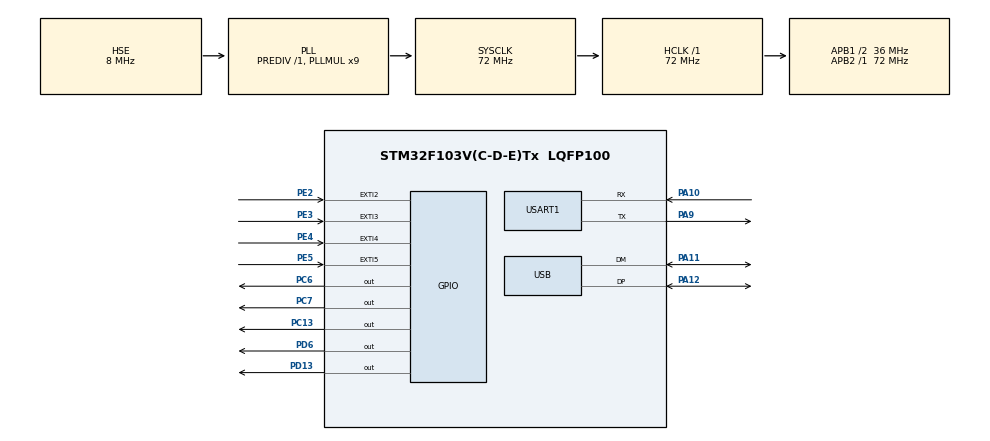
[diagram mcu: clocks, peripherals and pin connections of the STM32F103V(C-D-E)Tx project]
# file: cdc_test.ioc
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Mcu.Family=STM32F1
Mcu.Name=STM32F103V(C-D-E)Tx
Mcu.Package=LQFP100
NVIC.EXTI2_IRQn=true\:0\:0\:false
NVIC.EXTI3_IRQn=true\:0\:0\:false
NVIC.EXTI4_IRQn=true\:0\:0\:false
NVIC.EXTI9_5_IRQn=true\:0\:0\:false
NVIC.PriorityGroup=NVIC_PRIORITYGROUP_4
NVIC.USB_LP_CAN1_RX0_IRQn=true\:0\:0\:false
OSC_IN.Mode=HSE-External-Oscillator
OSC_IN.Signal=RCC_OSC_IN
OSC_OUT.Mode=HSE-External-Oscillator
OSC_OUT.Signal=RCC_OSC_OUT
PA10.Mode=Asynchronous
PA10.Signal=USART1_RX
PA11.Mode=Device
PA11.Signal=USB_DM
PA12.Mode=Device
PA12.Signal=USB_DP
PA9.Mode=Asynchronous
PA9.Signal=USART1_TX
PC13-TAMPER-RTC.Signal=GPIO_Output
PC14-OSC32_IN.Mode=LSE-External-Oscillator
PC14-OSC32_IN.Signal=RCC_OSC32_IN
PC15-OSC32_OUT.Mode=LSE-External-Oscillator
PC15-OSC32_OUT.Signal=RCC_OSC32_OUT
PC6.Signal=GPIO_Output
PC7.Signal=GPIO_Output
PD13.Signal=GPIO_Output
PD6.Signal=GPIO_Output
PE2.Signal=GPXTI2
PE3.Signal=GPXTI3
PE4.Signal=GPXTI4
PE5.Signal=GPXTI5
ProjectManager.TargetToolchain=SW4STM32
RCC.AHBFreq_Value=72000000
RCC.APB1CLKDivider=RCC_HCLK_DIV2
RCC.APB1Freq_Value=36000000
RCC.APB1TimFreq_Value=72000000
RCC.APB2Freq_Value=72000000
RCC.APB2TimFreq_Value=72000000
RCC.HCLKFreq_Value=72000000
RCC.HSIState=RCC_HSI_ON
RCC.PLLMUL=RCC_PLL_MUL9
RCC.SYSCLKFreq_VALUE=72000000
RCC.SYSCLKSource=RCC_SYSCLKSOURCE_PLLCLK
RCC.USBFreq_Value=48000000
RCC.USBPrescaler=RCC_USBPLLCLK_DIV1_5
USB_DEVICE.USBD_HandleTypeDef=hUsbDeviceFS
USB_DEVICE.VirtualMode=Cdc
USB_DEVICE.VirtualModeFS=Cdc_FS
VP_USB_DEVICE_VS_USB_DEVICE_CDC_FS.Mode=CDC_FS
board=cdc_test

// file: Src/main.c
/**
  ******************************************************************************
  * File Name          : main.c
  * Description        : Main program body
  ******************************************************************************
  *
  * COPYRIGHT(c) 2015 STMicroelectronics
  *
  * Redistribution and use in source and binary forms, with or without modification,
  * are permitted provided that the following conditions are met:
  *   1. Redistributions of source code must retain the above copyright notice,
  *      this list of conditions and the following disclaimer.
  *   2. Redistributions in binary form must reproduce the above copyright notice,
  *      this list of conditions and the following disclaimer in the documentation
  *      and/or other materials provided with the distribution.
  *   3. Neither the name of STMicroelectronics nor the names of its contributors
  *      may be used to endorse or promote products derived from this software
  *      without specific prior written permission.
  *
  * THIS SOFTWARE IS PROVIDED BY THE COPYRIGHT HOLDERS AND CONTRIBUTORS "AS IS"
  * AND ANY EXPRESS OR IMPLIED WARRANTIES, INCLUDING, BUT NOT LIMITED TO, THE
  * IMPLIED WARRANTIES OF MERCHANTABILITY AND FITNESS FOR A PARTICULAR PURPOSE ARE
  * DISCLAIMED. IN NO EVENT SHALL THE COPYRIGHT HOLDER OR CONTRIBUTORS BE LIABLE
  * FOR ANY DIRECT, INDIRECT, INCIDENTAL, SPECIAL, EXEMPLARY, OR CONSEQUENTIAL
  * DAMAGES (INCLUDING, BUT NOT LIMITED TO, PROCUREMENT OF SUBSTITUTE GOODS OR
  * SERVICES; LOSS OF USE, DATA, OR PROFITS; OR BUSINESS INTERRUPTION) HOWEVER
  * CAUSED AND ON ANY THEORY OF LIABILITY, WHETHER IN CONTRACT, STRICT LIABILITY,
  * OR TORT (INCLUDING NEGLIGENCE OR OTHERWISE) ARISING IN ANY WAY OUT OF THE USE
  * OF THIS SOFTWARE, EVEN IF ADVISED OF THE POSSIBILITY OF SUCH DAMAGE.
  *
  ******************************************************************************
  */
#include "stm32f1xx_hal.h"
#include "usb_device.h"

/* USER CODE BEGIN Includes */
#include "vcp.h"
#include "usbd_cdc_if.h"
/* USER CODE END Includes */

UART_HandleTypeDef huart1;

/* USER CODE BEGIN PV */
/* Private variables ---------------------------------------------------------*/
/* USER CODE END PV */

void SystemClock_Config(void);
static void MX_GPIO_Init(void);
static void MX_USART1_UART_Init(void);

/* USER CODE BEGIN PFP */
/* Private function prototypes -----------------------------------------------*/
/* USER CODE BEGIN 1 */
/* USER CODE END 1 */
/* USER CODE END PFP */

/* USER CODE BEGIN 0 */

/**
 * Get USB Connection Status
 */
#define USB_IS_ACTIVE() (hUsbDeviceFS.dev_state == USBD_STATE_CONFIGURED)

/**
 * printf retartget to USART1
 */
#ifdef __GNUC__
#  define PUTCHAR_PROTOTYPE int __io_putchar(int ch)
#else
#  define PUTCHAR_PROTOTYPE int fputc(int ch, FILE *f)
#endif /* __GNUC__ */

PUTCHAR_PROTOTYPE
{
  HAL_UART_Transmit(&huart1, (uint8_t *)&ch, 1, 0xFFFF);
  return ch;
}

int _write(int file, char *ptr, int len)
{
  int DataIdx;

  for (DataIdx = 0; DataIdx < len; DataIdx++)
  {
    __io_putchar(*ptr++);
  }
  return len;
}

/**
 * Software connection state switch
 */

uint8_t connectionState = 1;

void HAL_GPIO_EXTI_Callback(uint16_t GPIO_Pin) {
  switch (GPIO_Pin) {
  case GPIO_PIN_5:
    // push SW1, toggle connection
    printf("\r\nSoftware device connection.\r\n");
    connectionState ^= 1;
    HAL_PCDEx_SetConnectionState(hUsbDeviceFS.pData, connectionState);
    break;
  case GPIO_PIN_4:
    break;
  case GPIO_PIN_3:
    break;
  case GPIO_PIN_2:
    break;
  }
}
/* USER CODE END 0 */

int main(void)
{

  /* MCU Configuration----------------------------------------------------------*/

  /* Reset of all peripherals, Initializes the Flash interface and the Systick. */
  HAL_Init();

  /* Configure the system clock */
  SystemClock_Config();

  /* Initialize all configured peripherals */
  MX_GPIO_Init();
  MX_USART1_UART_Init();
  MX_USB_DEVICE_Init();

  /* USER CODE BEGIN 2 */
  HAL_PCDEx_SetConnectionState(hUsbDeviceFS.pData, connectionState);// USB Activate
  HAL_Delay(3000);
  printf("Hello world.\r\n");

  uint8_t buf = 0;
  uint8_t cbuf[100];
  /* USER CODE END 2 */

  /* Infinite loop */
  while (1)
  {

  /* USER CODE BEGIN 3 */

    // USART1 <=> VCP echo test
    if (USB_IS_ACTIVE())
    {
      HAL_Delay(5000);

      printf("\r\nVCP Connected > ");
      fflush(stdout);
      VCP_write("\r\nVCP Connected > ", 18);

      while (USB_IS_ACTIVE())
      {
        // VCP to USART1
        if (VCP_read(&buf, 1) == 1 && buf)
        {
          printf("\033[36m%c\033[0m", buf);
          fflush(stdout);
          VCP_write(&buf, 1);
          buf = 0;
        }

        // USART1 to VCP
        HAL_UART_Receive(&huart1, &buf, 1, 1);
        if (buf)
        {
          sprintf(cbuf, "\033[36m%c\033[0m", buf);
          VCP_write(&cbuf, 10);
          printf("%c", buf);
          fflush(stdout);
          buf = 0;
        }
      }

      printf("\r\nVCP Disconnected.\r\n");
    }
    else
    {
      // [debug] dump device status
      printf("\rdev_state = %d", hUsbDeviceFS.dev_state);
      fflush(stdout);
      HAL_Delay(500);
    }
  }
  /* USER CODE END 3 */

}

/** System Clock Configuration
*/
void SystemClock_Config(void)
{

  RCC_OscInitTypeDef RCC_OscInitStruct;
  RCC_ClkInitTypeDef RCC_ClkInitStruct;
  RCC_PeriphCLKInitTypeDef PeriphClkInit;

  RCC_OscInitStruct.OscillatorType = RCC_OSCILLATORTYPE_HSE;
  RCC_OscInitStruct.HSEState = RCC_HSE_ON;
  RCC_OscInitStruct.HSEPredivValue = RCC_HSE_PREDIV_DIV1;
  RCC_OscInitStruct.PLL.PLLState = RCC_PLL_ON;
  RCC_OscInitStruct.PLL.PLLSource = RCC_PLLSOURCE_HSE;
  RCC_OscInitStruct.PLL.PLLMUL = RCC_PLL_MUL9;
  HAL_RCC_OscConfig(&RCC_OscInitStruct);

  RCC_ClkInitStruct.ClockType = RCC_CLOCKTYPE_SYSCLK|RCC_CLOCKTYPE_PCLK1;
  RCC_ClkInitStruct.SYSCLKSource = RCC_SYSCLKSOURCE_PLLCLK;
  RCC_ClkInitStruct.AHBCLKDivider = RCC_SYSCLK_DIV1;
  RCC_ClkInitStruct.APB1CLKDivider = RCC_HCLK_DIV2;
  RCC_ClkInitStruct.APB2CLKDivider = RCC_HCLK_DIV1;
  HAL_RCC_ClockConfig(&RCC_ClkInitStruct, FLASH_LATENCY_2);

  PeriphClkInit.PeriphClockSelection = RCC_PERIPHCLK_USB;
  PeriphClkInit.UsbClockSelection = RCC_USBPLLCLK_DIV1_5;
  HAL_RCCEx_PeriphCLKConfig(&PeriphClkInit);

  HAL_SYSTICK_Config(HAL_RCC_GetHCLKFreq()/1000);

  HAL_SYSTICK_CLKSourceConfig(SYSTICK_CLKSOURCE_HCLK);

}

/* USART1 init function */
void MX_USART1_UART_Init(void)
{

  huart1.Instance = USART1;
  huart1.Init.BaudRate = 115200;
  huart1.Init.WordLength = UART_WORDLENGTH_8B;
  huart1.Init.StopBits = UART_STOPBITS_1;
  huart1.Init.Parity = UART_PARITY_NONE;
  huart1.Init.Mode = UART_MODE_TX_RX;
  huart1.Init.HwFlowCtl = UART_HWCONTROL_NONE;
  huart1.Init.OverSampling = UART_OVERSAMPLING_16;
  HAL_UART_Init(&huart1);

}

/** Configure pins as
        * Analog
        * Input
        * Output
        * EVENT_OUT
        * EXTI
*/
void MX_GPIO_Init(void)
{

  GPIO_InitTypeDef GPIO_InitStruct;

  /* GPIO Ports Clock Enable */
  __GPIOE_CLK_ENABLE();
  __GPIOC_CLK_ENABLE();
  __GPIOD_CLK_ENABLE();
  __GPIOA_CLK_ENABLE();

  /*Configure GPIO pins : PE2 PE3 PE4 PE5 */
  GPIO_InitStruct.Pin = GPIO_PIN_2|GPIO_PIN_3|GPIO_PIN_4|GPIO_PIN_5;
  GPIO_InitStruct.Mode = GPIO_MODE_IT_RISING;
  GPIO_InitStruct.Pull = GPIO_NOPULL;
  HAL_GPIO_Init(GPIOE, &GPIO_InitStruct);

  /*Configure GPIO pins : PC13 PC6 PC7 */
  GPIO_InitStruct.Pin = GPIO_PIN_13|GPIO_PIN_6|GPIO_PIN_7;
  GPIO_InitStruct.Mode = GPIO_MODE_OUTPUT_PP;
  GPIO_InitStruct.Speed = GPIO_SPEED_LOW;
  HAL_GPIO_Init(GPIOC, &GPIO_InitStruct);

  /*Configure GPIO pins : PD13 PD6 */
  GPIO_InitStruct.Pin = GPIO_PIN_13|GPIO_PIN_6;
  GPIO_InitStruct.Mode = GPIO_MODE_OUTPUT_PP;
  GPIO_InitStruct.Speed = GPIO_SPEED_LOW;
  HAL_GPIO_Init(GPIOD, &GPIO_InitStruct);

  /* EXTI interrupt init*/
  HAL_NVIC_SetPriority(EXTI2_IRQn, 0, 0);
  HAL_NVIC_EnableIRQ(EXTI2_IRQn);

  HAL_NVIC_SetPriority(EXTI3_IRQn, 0, 0);
  HAL_NVIC_EnableIRQ(EXTI3_IRQn);

  HAL_NVIC_SetPriority(EXTI4_IRQn, 0, 0);
  HAL_NVIC_EnableIRQ(EXTI4_IRQn);

  HAL_NVIC_SetPriority(EXTI9_5_IRQn, 0, 0);
  HAL_NVIC_EnableIRQ(EXTI9_5_IRQn);

}

/************************ (C) COPYRIGHT STMicroelectronics *****END OF FILE****/
